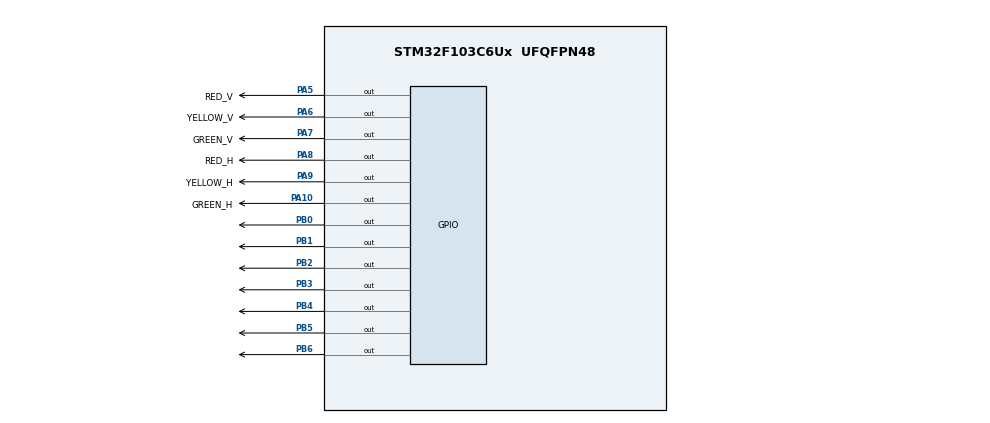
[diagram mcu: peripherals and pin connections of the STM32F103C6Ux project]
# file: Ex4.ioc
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Mcu.Family=STM32F1
Mcu.Name=STM32F103C6Ux
Mcu.Package=UFQFPN48
NVIC.PriorityGroup=NVIC_PRIORITYGROUP_4
PA10.GPIO_Label=GREEN_H
PA10.Signal=GPIO_Output
PA5.GPIO_Label=RED_V
PA5.Signal=GPIO_Output
PA6.GPIO_Label=YELLOW_V
PA6.Signal=GPIO_Output
PA7.GPIO_Label=GREEN_V
PA7.Signal=GPIO_Output
PA8.GPIO_Label=RED_H
PA8.Signal=GPIO_Output
PA9.GPIO_Label=YELLOW_H
PA9.Signal=GPIO_Output
PB0.Signal=GPIO_Output
PB1.Signal=GPIO_Output
PB2.Signal=GPIO_Output
PB3.Signal=GPIO_Output
PB4.Signal=GPIO_Output
PB5.Signal=GPIO_Output
PB6.Signal=GPIO_Output
ProjectManager.HeapSize=0x200
ProjectManager.StackSize=0x400
ProjectManager.TargetToolchain=STM32CubeIDE
RCC.APB1Freq_Value=8000000
RCC.APB2Freq_Value=8000000
VP_SYS_VS_ND.Mode=No_Debug
board=custom

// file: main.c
/* USER CODE BEGIN Header */
/**
  ******************************************************************************
  * @file           : main.c
  * @brief          : Main program body
  ******************************************************************************
  * @attention
  *
  * <h2><center>&copy; Copyright (c) 2026 STMicroelectronics.
  * All rights reserved.</center></h2>
  *
  * This software component is licensed by ST under BSD 3-Clause license,
  * the "License"; You may not use this file except in compliance with the
  * License. You may obtain a copy of the License at:
  *                        opensource.org/licenses/BSD-3-Clause
  *
  ******************************************************************************
  */
/* USER CODE END Header */
#include "main.h"

void SystemClock_Config(void);
static void MX_GPIO_Init(void);
/* USER CODE BEGIN PFP */
void display7SEG(int num);
/* USER CODE END PFP */

int main(void)
{
  /* USER CODE BEGIN 1 */
	int counter = 0;
  /* USER CODE END 1 */

  /* MCU Configuration--------------------------------------------------------*/

  /* Reset of all peripherals, Initializes the Flash interface and the Systick. */
  HAL_Init();

  /* Configure the system clock */
  SystemClock_Config();

  /* Initialize all configured peripherals */
  MX_GPIO_Init();

  /* Infinite loop */
  /* USER CODE BEGIN WHILE */
  while (1)
    {
        if (counter >= 10) counter = 0;
        display7SEG(counter++);
        HAL_Delay(1000);

    /* USER CODE END WHILE */

  }
}

void SystemClock_Config(void)
{
  RCC_OscInitTypeDef RCC_OscInitStruct = {0};
  RCC_ClkInitTypeDef RCC_ClkInitStruct = {0};

  /** Initializes the RCC Oscillators according to the specified parameters
  * in the RCC_OscInitTypeDef structure.
  */
  RCC_OscInitStruct.OscillatorType = RCC_OSCILLATORTYPE_HSI;
  RCC_OscInitStruct.HSIState = RCC_HSI_ON;
  RCC_OscInitStruct.HSICalibrationValue = RCC_HSICALIBRATION_DEFAULT;
  RCC_OscInitStruct.PLL.PLLState = RCC_PLL_NONE;
  if (HAL_RCC_OscConfig(&RCC_OscInitStruct) != HAL_OK)
  {
    Error_Handler();
  }
  /** Initializes the CPU, AHB and APB buses clocks
  */
  RCC_ClkInitStruct.ClockType = RCC_CLOCKTYPE_HCLK|RCC_CLOCKTYPE_SYSCLK
                              |RCC_CLOCKTYPE_PCLK1|RCC_CLOCKTYPE_PCLK2;
  RCC_ClkInitStruct.SYSCLKSource = RCC_SYSCLKSOURCE_HSI;
  RCC_ClkInitStruct.AHBCLKDivider = RCC_SYSCLK_DIV1;
  RCC_ClkInitStruct.APB1CLKDivider = RCC_HCLK_DIV1;
  RCC_ClkInitStruct.APB2CLKDivider = RCC_HCLK_DIV1;

  if (HAL_RCC_ClockConfig(&RCC_ClkInitStruct, FLASH_LATENCY_0) != HAL_OK)
  {
    Error_Handler();
  }
}

static void MX_GPIO_Init(void)
{
  GPIO_InitTypeDef GPIO_InitStruct = {0};

  /* GPIO Ports Clock Enable */
  __HAL_RCC_GPIOA_CLK_ENABLE();
  __HAL_RCC_GPIOB_CLK_ENABLE();

  /*Configure GPIO pin Output Level */
  HAL_GPIO_WritePin(GPIOA, RED_V_Pin|YELLOW_V_Pin|GREEN_V_Pin|RED_H_Pin
                          |YELLOW_H_Pin|GREEN_H_Pin, GPIO_PIN_RESET);

  /*Configure GPIO pin Output Level */
  HAL_GPIO_WritePin(GPIOB, GPIO_PIN_0|GPIO_PIN_1|GPIO_PIN_2|GPIO_PIN_3
                          |GPIO_PIN_4|GPIO_PIN_5|GPIO_PIN_6, GPIO_PIN_RESET);

  /*Configure GPIO pins : RED_V_Pin YELLOW_V_Pin GREEN_V_Pin RED_H_Pin
                           YELLOW_H_Pin GREEN_H_Pin */
  GPIO_InitStruct.Pin = RED_V_Pin|YELLOW_V_Pin|GREEN_V_Pin|RED_H_Pin
                          |YELLOW_H_Pin|GREEN_H_Pin;
  GPIO_InitStruct.Mode = GPIO_MODE_OUTPUT_PP;
  GPIO_InitStruct.Pull = GPIO_NOPULL;
  GPIO_InitStruct.Speed = GPIO_SPEED_FREQ_LOW;
  HAL_GPIO_Init(GPIOA, &GPIO_InitStruct);

  /*Configure GPIO pins : PB0 PB1 PB2 PB3
                           PB4 PB5 PB6 */
  GPIO_InitStruct.Pin = GPIO_PIN_0|GPIO_PIN_1|GPIO_PIN_2|GPIO_PIN_3
                          |GPIO_PIN_4|GPIO_PIN_5|GPIO_PIN_6;
  GPIO_InitStruct.Mode = GPIO_MODE_OUTPUT_PP;
  GPIO_InitStruct.Pull = GPIO_NOPULL;
  GPIO_InitStruct.Speed = GPIO_SPEED_FREQ_LOW;
  HAL_GPIO_Init(GPIOB, &GPIO_InitStruct);

}

/* USER CODE BEGIN 4 */
void display7SEG(int num)
{
    // Mang chua cac so tu 0 den 9
    uint8_t seg7[10] = {0xC0, 0xF9, 0xA4, 0xB0, 0x99, 0x92, 0x82, 0xF8, 0x80, 0x90};

    if(num < 0 || num > 9) return;

    uint8_t value = seg7[num];

    HAL_GPIO_WritePin(GPIOB, GPIO_PIN_0, (value >> 0) & 0x01 ? GPIO_PIN_SET : GPIO_PIN_RESET); // doan a
    HAL_GPIO_WritePin(GPIOB, GPIO_PIN_1, (value >> 1) & 0x01 ? GPIO_PIN_SET : GPIO_PIN_RESET); // doan b
    HAL_GPIO_WritePin(GPIOB, GPIO_PIN_2, (value >> 2) & 0x01 ? GPIO_PIN_SET : GPIO_PIN_RESET); // doan c
    HAL_GPIO_WritePin(GPIOB, GPIO_PIN_3, (value >> 3) & 0x01 ? GPIO_PIN_SET : GPIO_PIN_RESET); // doan d
    HAL_GPIO_WritePin(GPIOB, GPIO_PIN_4, (value >> 4) & 0x01 ? GPIO_PIN_SET : GPIO_PIN_RESET); // doan e
    HAL_GPIO_WritePin(GPIOB, GPIO_PIN_5, (value >> 5) & 0x01 ? GPIO_PIN_SET : GPIO_PIN_RESET); // doan f
    HAL_GPIO_WritePin(GPIOB, GPIO_PIN_6, (value >> 6) & 0x01 ? GPIO_PIN_SET : GPIO_PIN_RESET); // doan g
}
/* USER CODE END 4 */

void Error_Handler(void)
{
  __disable_irq();
  while (1)
  {
  }
}

/************************ (C) COPYRIGHT STMicroelectronics *****END OF FILE****/
